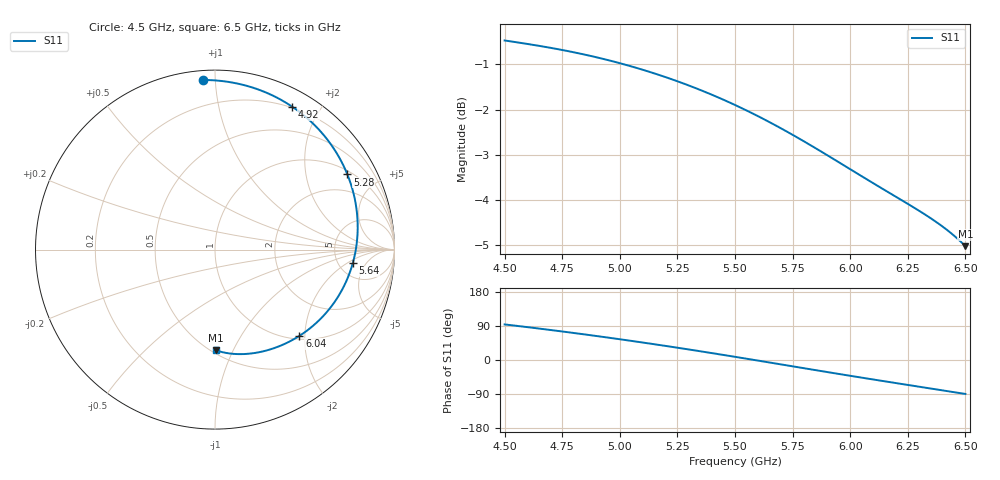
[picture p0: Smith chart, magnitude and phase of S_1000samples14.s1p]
! TOUCHSTONE file generated by CST MICROWAVE STUDIO
! Date and time: Wed Oct 26 16:56:06 2022
! Project name: L.cst
! Parameters = {Di=1.27; Epsilon_r=1.56; InnerDiameter=1.27; Length=2; Lf=10; Lg=60; OuterConductorThickness=0.2921; OuterDiameter=3.6; Wf=3; Wp=41.2; de=1.5; df=6.8; g=0.8; gx=1.60322; gy=4.58025; h=2.34; hf=1.524; px=9.87194; py=13.628; w=9.7; wx=8.26872; wy=9.04771}
! Header version: 2018
! Port assignment regex: !\s*Touchstone port\s*([0-9]+)\s*=\s*(CST MWS port|CST DS port)\s*([0-9]+|Zmin|Zmax)\s*\(\"(.*)\"\)(\s*mode\s*([0-9]+))?.*
! Touchstone port assignment:
! Touchstone port 1 = CST MWS port 1 ("")
# GHz S DB R 50
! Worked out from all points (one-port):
!   101 points, 4.5 GHz to 6.5 GHz, reference 50 ohm
!   lowest |S11| = -5.0 dB at 6.5 GHz (marker M1), VSWR 3.55, Z = 26.3 - j42.9 ohm
!   |S11| at or under -10 dB: nowhere
!   S11 on the Smith chart (normalised r, x): 4.5 GHz: 0.05, +0.93; 4.92 GHz: 0.19, +1.66; 5.28 GHz: 1.15, +3.43; 5.64 GHz: 6.80, -2.52; 6.04 GHz: 1.07, -1.88; 6.5 GHz: 0.53, -0.86
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4.5  -0.47 93.9
4.58  -0.53 88.1
4.64  -0.58 83.7
4.76  -0.69 74.5
4.84  -0.78 68.1
4.92  -0.87 61.5
5  -0.97 54.8
5.06  -1.06 49.6
5.14  -1.18 42.5
5.26  -1.39 31.5
5.28  -1.43 29.6
5.34  -1.55 23.9
5.4  -1.67 18.2
5.5  -1.90 8.4
5.56  -2.05 2.4
5.64  -2.25 -5.6
5.7  -2.42 -11.6
5.76  -2.59 -17.7
5.88  -2.95 -29.8
5.94  -3.13 -35.7
6  -3.32 -41.7
6.04  -3.45 -45.6
6.14  -3.75 -55.3
6.26  -4.12 -66.7
6.32  -4.31 -72.5
6.38  -4.51 -78.2
6.44  -4.75 -83.9
6.5  -5.03 -89.5
